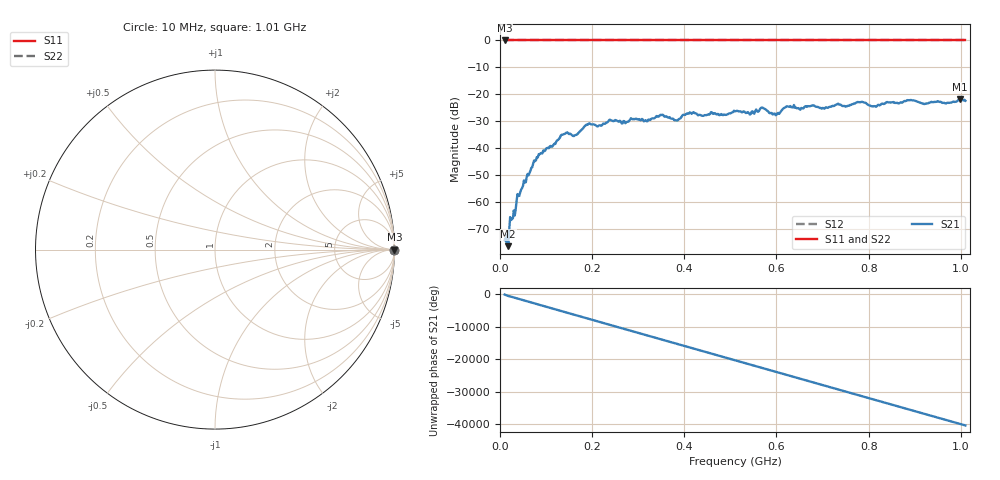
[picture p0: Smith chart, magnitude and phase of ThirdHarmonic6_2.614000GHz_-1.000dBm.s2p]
! 8/17/2025 5:44:37 AM
! C:\ANRITSUVNA\TEMP\TEMP.S2P
! CHANNEL.1
! TR.MEASUREMENT
! RAW.DATA
! RF.CORRECTION.OFF
! AVERAGING.OFF
! IF.BANDWIDTH: 5KHZ
! SWEEPTYPE:  FREQ.SWEEP(Linear)
! Reference Plane Port Info
! PORT:  PORT1  PORT2
! DISTANCE:  0  m  0  m
! TIME:  0  s  0  s
! PHASE.OFFSET:  0  deg.  0  deg.
! LOSS:  0  dB  0  dB
! REF.LOSS:  0  dB  0  dB
! REF.FREQ:  0  Hz  0  Hz
! Power Info
! POWER:  -20  dBm  -20  dBm
! EFF.POWER:  -20  dBm  -20  dBm
! SOURCE.ATTEN:  0  dB  0  dB
! TEST.ATTEN:  0  dB  0  dB
# GHZ S RI R 50.0
! FREQ.GHZ  S11RE  S11IM  S21RE  S21IM  S12RE  S12IM  S22RE  S22IM
!; PortSelection: Port_12
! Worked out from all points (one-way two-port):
!   501 points, 10 MHz to 1.01 GHz, reference 50 ohm
!   highest |S21| = -21.70 dB at 998 MHz (marker M1); lowest = -76.3 dB at 18 MHz (marker M2)
!   lowest |S11| = 0.0 dB at 10 MHz (marker M3)
!   |S11| at or under -10 dB: nowhere
!   |S22| runs from 0.0 to 0.0 dB; largest |S21 - S12| = 1.1
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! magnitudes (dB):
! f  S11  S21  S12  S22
! 10 MHz  0.0  -74.0  0.0  0.0
! 18 MHz  0.0  -76.3  0.0  0.0
! 40 MHz  0.0  -57.6  0.0  0.0
! 84 MHz  0.0  -42.2  0.0  0.0
! 136 MHz  0.0  -35.0  0.0  0.0
! 162 MHz  0.0  -35.2  0.0  0.0
! 178 MHz  0.0  -33.0  0.0  0.0
! 192 MHz  0.0  -30.9  0.0  0.0
! 316 MHz  0.0  -29.6  0.0  0.0
! 344 MHz  0.0  -28.3  0.0  0.0
! 382 MHz  0.0  -29.7  0.0  0.0
! 410 MHz  0.0  -27.1  0.0  0.0
! 510 MHz  0.0  -26.3  0.0  0.0
! 546 MHz  0.0  -26.5  0.0  0.0
! 570 MHz  0.0  -24.9  0.0  0.0
! 596 MHz  0.0  -27.1  0.0  0.0
! 622 MHz  0.0  -24.5  0.0  0.0
! 678 MHz  0.0  -24.1  0.0  0.0
! 814 MHz  0.0  -24.4  0.0  0.0
! 844 MHz  0.0  -23.0  0.0  0.0
! 998 MHz  0.0  -21.7  0.0  0.0
! 1.01 GHz  0.0  -22.4  0.0  0.0
